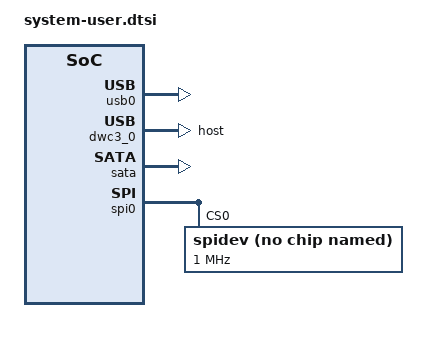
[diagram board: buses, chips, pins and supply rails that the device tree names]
/include/ "system-conf.dtsi"
/ {
chosen{
 bootargs = "earlycon clk_ignore_unused console=ttyPS0,115200 earlyprintk root=/dev/mmcblk1p2 rw rootwait";
 };
 };
 
 &sdhci1 {
 disable-wp;
 no-1-8-v;
};

&usb0 {
  status = "okay";
};

&dwc3_0 {
    status = "okay";
    dr_mode = "host";
};

&sata {
	ceva,p0-burst-params = /bits/ 8 <0x13 0x08 0x4A 0x06>;
	ceva,p0-cominit-params = /bits/ 8 <0x18 0x40 0x18 0x28>;
	ceva,p0-comwake-params = /bits/ 8 <0x06 0x14 0x08 0x0E>;
	ceva,p0-retry-params = /bits/ 16 <0x96A4 0x3FFC>;
	ceva,p1-burst-params = /bits/ 8 <0x13 0x08 0x4A 0x06>;
	ceva,p1-cominit-params = /bits/ 8 <0x18 0x40 0x18 0x28>;
	ceva,p1-comwake-params = /bits/ 8 <0x06 0x14 0x08 0x0E>;
	ceva,p1-retry-params = /bits/ 16 <0x96A4 0x3FFC>;
	status = "okay";
	xlnx,tz-nonsecure-sata0 = <0x0>;
	xlnx,tz-nonsecure-sata1 = <0x0>;
};

&spi0 {
 is-decoded-cs = <0>;
 num-cs = <1>;
 status = "okay";
 spidev@0x00 {
  compatible = "spidev";
  spi-max-frequency = <1000000>;
  reg = <0>;
 };
};

